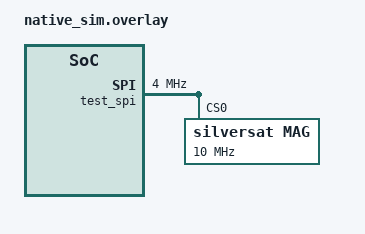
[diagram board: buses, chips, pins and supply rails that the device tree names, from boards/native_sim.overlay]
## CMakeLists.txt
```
cmake_minimum_required(VERSION 3.20.0)

find_package(Zephyr REQUIRED HINTS $ENV{ZEPHYR_BASE})
project(mag_emul LANGUAGES C)

target_sources(app PRIVATE src/main.c)
```

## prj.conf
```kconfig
CONFIG_ZTEST=y

CONFIG_SPI=y
CONFIG_EMUL=y
CONFIG_SPI_EMUL=y

CONFIG_LOG=y
CONFIG_LOG_MODE_IMMEDIATE=y
```

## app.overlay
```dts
/*
 * Emulated SPI bus for driver tests.
 *
 * The mag@0 child node returns with the driver. A child on this bus needs a
 * real device object (from DEVICE_DT_INST_DEFINE in the driver), or the
 * controller's child table fails to link.
 */

/ {
	test {
		#address-cells = <1>;
		#size-cells = <1>;

		test_spi: spi@40000000 {
			compatible = "zephyr,spi-emul-controller";
			status = "okay";
			reg = <0x40000000 0x1000>;
			#address-cells = <1>;
			#size-cells = <0>;
			clock-frequency = <4000000>;
		};
	};
};
```

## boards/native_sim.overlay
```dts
/*
 * Emulated SPI bus for driver tests.
 *
 * The container node with explicit #address-cells/#size-cells is the
 * convention upstream Zephyr tests use; it avoids unit-address complaints
 * against the root node.
 *
 * SPDX-License-Identifier: Apache-2.0
 */

/ {
	test {
		#address-cells = <1>;
		#size-cells = <1>;

		test_spi: spi@40000000 {
			compatible = "zephyr,spi-emul-controller";
			status = "okay";
			reg = <0x40000000 0x1000>;
			#address-cells = <1>;
			#size-cells = <0>;
			clock-frequency = <4000000>;

			mag: mag@0 {
				compatible = "silversat,mag";
				status = "okay";
				reg = <0>;
				spi-max-frequency = <10000000>;
			};
		};
	};
};
```

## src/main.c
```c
#include <zephyr/ztest.h>
#include <zephyr/device.h>
#include <zephyr/devicetree.h>

ZTEST_SUITE(mag, NULL, NULL, NULL, NULL, NULL);

ZTEST(mag, test_emul_bus_ready)
{
	const struct device *bus = DEVICE_DT_GET(DT_NODELABEL(test_spi));

	zassert_true(device_is_ready(bus),
		     "emulated SPI controller not ready -- is app.overlay applied?");
}
```
